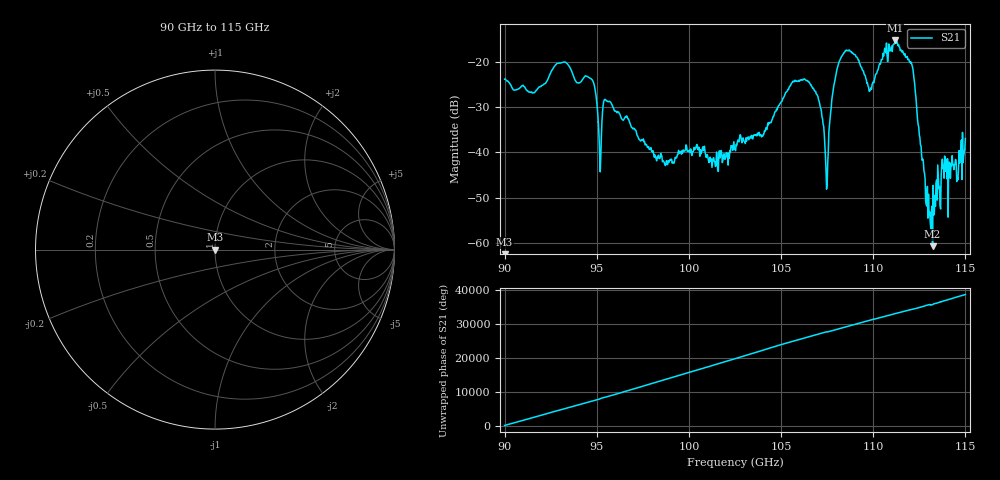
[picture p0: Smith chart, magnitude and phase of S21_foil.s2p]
!Agilent Technologies,E8363B,MY43030303,A.07.50.37
!Agilent E8363B: A.07.50.37
!Date: Thursday, February 02, 2012 01:55:57
!Correction: S11(Off)
!S21(Off)
!S12(Off)
!S22(Off)
!S2P File: Measurements: S11, S21, S12, S22:
# Hz S  dB  R 50
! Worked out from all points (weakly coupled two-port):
!   801 points, 90 GHz to 115 GHz, reference 50 ohm
!   highest |S21| = -15.32 dB at 111.2 GHz (marker M1); lowest = -60.7 dB at 113.2 GHz (marker M2)
!   lowest |S11| = - dB at 90 GHz (marker M3), VSWR 1.00, Z = 50 + j7.07e-09 ohm
!   |S11| at or under -10 dB: start of sweep to end of sweep
!   S12 and S22 are empty: the file has one direction only
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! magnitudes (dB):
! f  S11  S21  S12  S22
! 90 GHz  -  -23.9  -  -
! 94.19 GHz  -  -24.2  -  -
! 94.81 GHz  -  -24.5  -  -
! 95.16 GHz  -  -40.3  -  -
! 95.56 GHz  -  -28.8  -  -
! 98.34 GHz  -  -40.6  -  -
! 102.5 GHz  -  -39.2  -  -
! 104 GHz  -  -36.1  -  -
! 105.7 GHz  -  -24.3  -  -
! 106.7 GHz  -  -25.6  -  -
! 107.1 GHz  -  -30.0  -  -
! 107.5 GHz  -  -48.1  -  -
! 107.9 GHz  -  -25.0  -  -
! 108.3 GHz  -  -18.9  -  -
! 109.8 GHz  -  -26.3  -  -
! 110.8 GHz  -  -16.1  -  -
! 111.2 GHz  -  -15.3  -  -
! 112.1 GHz  -  -21.1  -  -
! 113 GHz  -  -54.5  -  -
! 113.2 GHz  -  -60.7  -  -
! 113.8 GHz  -  -45.7  -  -
! 115 GHz  -  -36.9  -  -
